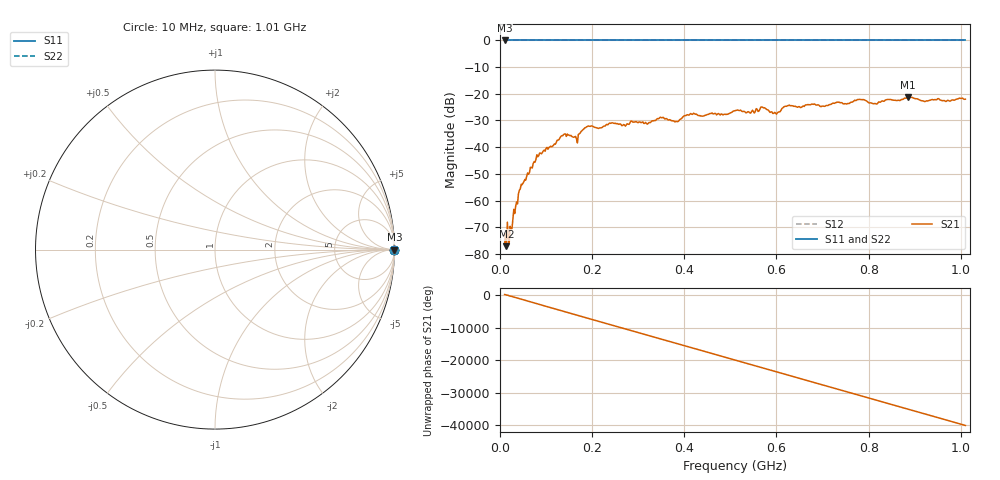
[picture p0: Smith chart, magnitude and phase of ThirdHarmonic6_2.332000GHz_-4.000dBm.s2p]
! 8/17/2025 3:22:57 AM
! C:\ANRITSUVNA\TEMP\TEMP.S2P
! CHANNEL.1
! TR.MEASUREMENT
! RAW.DATA
! RF.CORRECTION.OFF
! AVERAGING.OFF
! IF.BANDWIDTH: 5KHZ
! SWEEPTYPE:  FREQ.SWEEP(Linear)
! Reference Plane Port Info
! PORT:  PORT1  PORT2
! DISTANCE:  0  m  0  m
! TIME:  0  s  0  s
! PHASE.OFFSET:  0  deg.  0  deg.
! LOSS:  0  dB  0  dB
! REF.LOSS:  0  dB  0  dB
! REF.FREQ:  0  Hz  0  Hz
! Power Info
! POWER:  -20  dBm  -20  dBm
! EFF.POWER:  -20  dBm  -20  dBm
! SOURCE.ATTEN:  0  dB  0  dB
! TEST.ATTEN:  0  dB  0  dB
# GHZ S RI R 50.0
! FREQ.GHZ  S11RE  S11IM  S21RE  S21IM  S12RE  S12IM  S22RE  S22IM
!; PortSelection: Port_12
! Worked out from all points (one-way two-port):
!   501 points, 10 MHz to 1.01 GHz, reference 50 ohm
!   highest |S21| = -21.27 dB at 886 MHz (marker M1); lowest = -77.1 dB at 14 MHz (marker M2)
!   lowest |S11| = 0.0 dB at 10 MHz (marker M3)
!   |S11| at or under -10 dB: nowhere
!   |S22| runs from 0.0 to 0.0 dB; largest |S21 - S12| = 1.1
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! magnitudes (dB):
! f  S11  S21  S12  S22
! 10 MHz  0.0  -76.5  0.0  0.0
! 14 MHz  0.0  -77.1  0.0  0.0
! 22 MHz  0.0  -69.7  0.0  0.0
! 44 MHz  0.0  -55.7  0.0  0.0
! 82 MHz  0.0  -43.6  0.0  0.0
! 136 MHz  0.0  -35.7  0.0  0.0
! 164 MHz  0.0  -36.0  0.0  0.0
! 178 MHz  0.0  -33.8  0.0  0.0
! 194 MHz  0.0  -32.2  0.0  0.0
! 344 MHz  0.0  -29.4  0.0  0.0
! 384 MHz  0.0  -30.4  0.0  0.0
! 416 MHz  0.0  -27.7  0.0  0.0
! 510 MHz  0.0  -26.4  0.0  0.0
! 570 MHz  0.0  -25.1  0.0  0.0
! 596 MHz  0.0  -26.9  0.0  0.0
! 624 MHz  0.0  -24.5  0.0  0.0
! 678 MHz  0.0  -23.9  0.0  0.0
! 780 MHz  0.0  -22.1  0.0  0.0
! 814 MHz  0.0  -23.6  0.0  0.0
! 844 MHz  0.0  -22.1  0.0  0.0
! 886 MHz  0.0  -21.3  0.0  0.0
! 1.01 GHz  0.0  -22.0  0.0  0.0
